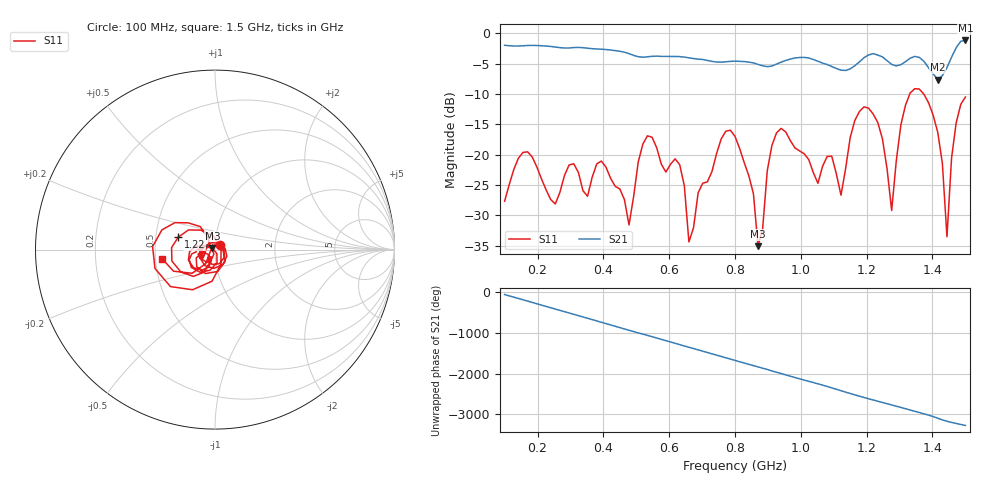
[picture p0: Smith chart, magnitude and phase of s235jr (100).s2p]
! NanoVNA-App
! Date: 2025-09-26 09:45:34
! Start: 100MHz Stop: 1,5GHz Points: 101
! S-Parameter data: F S11 S21 S12 S22
# Hz S RI R 50
!  Frequency  S11_Real  S11_Imag  S21_Real  S21_Imag  S12_Real  S12_Imag  S22_Real  S22_Imag
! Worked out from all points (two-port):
!   101 points, 100 MHz to 1.5 GHz, reference 50 ohm
!   highest |S21| = -1.16 dB at 1.5 GHz (marker M1); lowest = -7.6 dB at 1.416 GHz (marker M2)
!   |S21| within 3 dB of the highest: start of sweep to 676.7 MHz; 1.189 GHz to 1.255 GHz (66.01 MHz wide, 5.4 % of centre) (the widest 2 of 5)
!   lowest |S11| = -35.1 dB at 870 MHz (marker M3), VSWR 1.04, Z = 48.5 + j0.924 ohm
!   |S11| at or under -10 dB: start of sweep to 1.331 GHz; 1.374 GHz to end of sweep
!   S12 and S22 are empty: the file has one direction only
!   S11 on the Smith chart (normalised r, x): 100 MHz: 1.06, +0.06; 1.22 GHz: 0.65, +0.10; 1.5 GHz: 0.54, -0.06
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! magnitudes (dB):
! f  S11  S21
! 100 MHz  -27.6  -2.0
! 156 MHz  -19.6  -2.0
! 338 MHz  -25.9  -2.4
! 394 MHz  -21.0  -2.6
! 478 MHz  -31.6  -3.3
! 520 MHz  -18.2  -3.9
! 576 MHz  -21.5  -3.8
! 632 MHz  -21.6  -3.8
! 660 MHz  -34.4  -4.0
! 800 MHz  -17.0  -4.6
! 870 MHz  -35.1  -5.1
! 926 MHz  -16.4  -5.1
! 1.038 GHz  -22.9  -4.3
! 1.122 GHz  -26.7  -6.1
! 1.164 GHz  -14.3  -5.3
! 1.22 GHz  -13.3  -3.3
! 1.276 GHz  -29.2  -5.1
! 1.332 GHz  -9.8  -4.1
! 1.416 GHz  -16.3  -7.6
! 1.444 GHz  -33.5  -5.6
! 1.472 GHz  -14.7  -2.4
! 1.5 GHz  -10.5  -1.2
